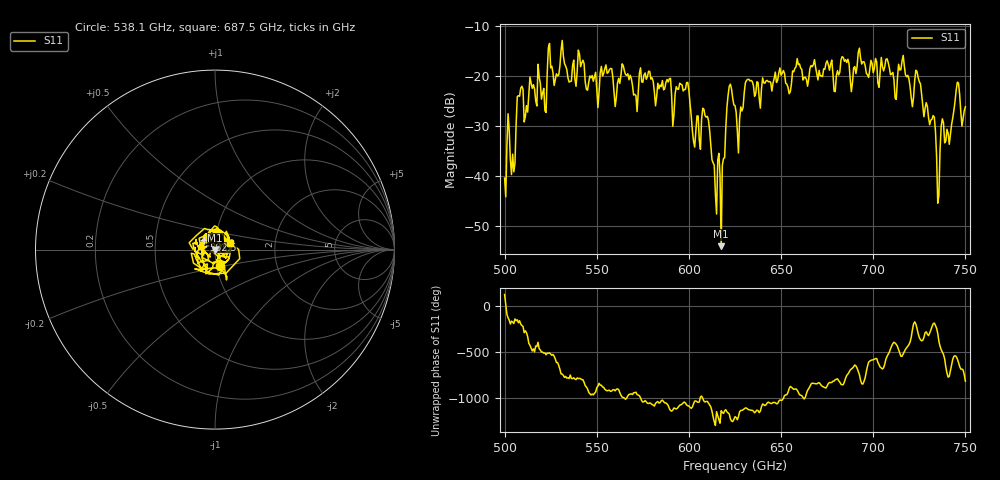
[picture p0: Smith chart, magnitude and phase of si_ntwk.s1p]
!Created with skrf (http://scikit-rf.org).
# GHz S MA R 50.0
!freq magS11 angS11
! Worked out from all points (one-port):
!   401 points, 500 GHz to 750 GHz, reference 50 ohm
!   lowest |S11| = -54.1 dB at 617.5 GHz (marker M1), VSWR 1.00, Z = 50.1 - j0.169 ohm
!   |S11| at or under -10 dB: start of sweep to end of sweep
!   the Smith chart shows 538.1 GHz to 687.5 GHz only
!   S11 on the Smith chart (normalised r, x): 538.1 GHz: 1.04, -0.19; 562.5 GHz: 0.88, +0.10; 687.5 GHz: 1.18, +0.09
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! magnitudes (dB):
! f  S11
! 500 GHz  -40.5
! 502.5 GHz  -30.9
! 504.4 GHz  -35.7
! 508.1 GHz  -24.1
! 521.2 GHz  -22.5
! 524.4 GHz  -13.5
! 528.1 GHz  -19.6
! 531.2 GHz  -12.9
! 538.1 GHz  -20.6
! 562.5 GHz  -21.5
! 593.8 GHz  -22.6
! 599.4 GHz  -21.3
! 602.5 GHz  -33.1
! 608.8 GHz  -28.0
! 613.8 GHz  -37.9
! 617.5 GHz  -54.1
! 621.9 GHz  -22.1
! 625 GHz  -25.9
! 627.5 GHz  -28.6
! 631.9 GHz  -20.7
! 656.2 GHz  -19.0
! 687.5 GHz  -20.7
! 693.1 GHz  -16.4
! 718.8 GHz  -19.9
! 732.5 GHz  -27.9
! 735 GHz  -45.5
! 745.6 GHz  -21.3
! 750 GHz  -26.2
